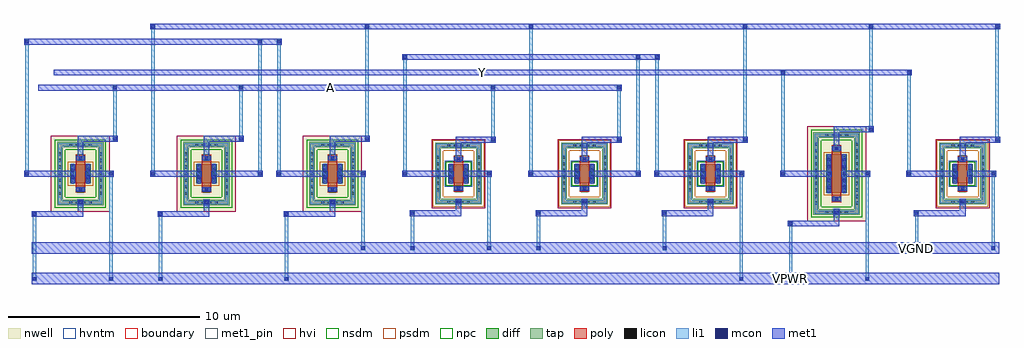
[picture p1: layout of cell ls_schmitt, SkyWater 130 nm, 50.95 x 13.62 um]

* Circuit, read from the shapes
.subckt ls_schmitt A VGND VPWR Y
XM1 VGND A ls_schmitt_XMN1_4/D VGND sky130_fd_pr__nfet_g5v0d10v5 w=1 l=0.5
XM2 ls_schmitt_XMN1_4/D A ls_schmitt_XMN2_3/D VGND sky130_fd_pr__nfet_g5v0d10v5 w=1 l=0.5
XM3 VPWR ls_schmitt_XMN2_3/D ls_schmitt_XMN1_4/D VGND sky130_fd_pr__nfet_g5v0d10v5 w=1 l=0.5
XM4 VGND ls_schmitt_XMN2_3/D Y VGND sky130_fd_pr__nfet_g5v0d10v5 w=1 l=0.5
XM5 VPWR A ls_schmitt_XMP1_7/D VPWR sky130_fd_pr__pfet_g5v0d10v5 w=1 l=0.5
XM6 ls_schmitt_XMP1_7/D A ls_schmitt_XMN2_3/D VPWR sky130_fd_pr__pfet_g5v0d10v5 w=1 l=0.5
XM7 VGND ls_schmitt_XMN2_3/D ls_schmitt_XMP1_7/D VPWR sky130_fd_pr__pfet_g5v0d10v5 w=1 l=0.5
XM8 VPWR ls_schmitt_XMN2_3/D Y VPWR sky130_fd_pr__pfet_g5v0d10v5 w=2 l=0.5
.ends

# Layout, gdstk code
import gdstk
lib = gdstk.Library(unit=1e-6, precision=1e-09)
def R(c, l, rs):  # rectangles x0, y0, x1, y1
    for r in rs: c.add(gdstk.rectangle(r[:2], r[2:], *l))
def A(c, l, x, y, w, h, nx, ny, dx, dy):  # array of equal rectangles
    R(c, l, [(x+i*dx, y+j*dy, x+i*dx+w, y+j*dy+h) for i in range(nx) for j in range(ny)])
nwell = (64, 20)
diff = (65, 20)
tap = (65, 44)
poly = (66, 20)
licon = (66, 44)
li1 = (67, 20)
mcon = (67, 44)
met1_pin = (68, 16)
met1 = (68, 20)
hvi = (75, 20)
nsdm = (93, 44)
psdm = (94, 20)
npc = (95, 20)
hvntm = (125, 20)
boundary = (235, 4)

ls_schmitt_xmno = lib.new_cell('ls_schmitt_XMNO')
R(ls_schmitt_xmno, diff, [(-0.54,-0.5,0.54,0.5)])
R(ls_schmitt_xmno, tap, [(-1.22,-1.61,1.22,-1.32), (-1.22,-1.32,-0.93,1.32), (0.93,-1.32,1.22,1.32), (-1.22,1.32,1.22,1.61)])
R(ls_schmitt_xmno, poly, [(-0.25,-0.94,0.25,0.94)])
A(ls_schmitt_xmno, licon, -0.595, -1.55, 0.17, 0.17, 4, 2, 0.34, 2.93)
A(ls_schmitt_xmno, licon, -1.16, -0.935, 0.17, 0.17, 1, 6, 0, 0.34)
A(ls_schmitt_xmno, licon, 0.99, -0.935, 0.17, 0.17, 1, 6, 0, 0.34)
A(ls_schmitt_xmno, licon, -0.48, -0.425, 0.17, 0.17, 1, 3, 0, 0.34)
A(ls_schmitt_xmno, licon, 0.31, -0.425, 0.17, 0.17, 1, 3, 0, 0.34)
R(ls_schmitt_xmno, licon, [(-0.085,-0.86,0.085,-0.69), (-0.085,0.69,0.085,0.86)])
R(ls_schmitt_xmno, li1, [(-0.165,-1.63,0.165,-1.55), (-1.16,-1.55,1.16,-1.38), (-1.16,-1.38,-0.99,1.38), (-0.165,-1.38,0.165,-1.3), (0.99,-1.38,1.16,1.38), (-0.25,-0.86,0.25,-0.69), (-0.48,-0.52,-0.31,0.52), (0.31,-0.52,0.48,0.52), (-0.25,0.69,0.25,0.86), (-1.16,1.38,1.16,1.55)])
R(ls_schmitt_xmno, mcon, [(-0.085,-1.55,0.085,-1.38), (-0.085,-0.86,0.085,-0.69), (-0.48,-0.265,-0.31,-0.095), (0.31,-0.265,0.48,-0.095), (-0.48,0.095,-0.31,0.265), (0.31,0.095,0.48,0.265), (-0.085,0.69,0.085,0.86)])
R(ls_schmitt_xmno, met1, [(-0.15,-1.615,0.15,-1.315), (-0.23,-0.89,0.23,-0.66), (-0.51,-0.5,-0.28,0.5), (0.28,-0.5,0.51,0.5), (-0.23,0.66,0.23,0.89)])
R(ls_schmitt_xmno, hvi, [(-1.405,-1.795,1.405,1.795)])
R(ls_schmitt_xmno, nsdm, [(-0.665,-0.625,0.665,0.625)])
R(ls_schmitt_xmno, psdm, [(-1.345,-1.735,1.345,-1.195), (-1.345,-1.195,-0.805,1.195), (0.805,-1.195,1.345,1.195), (-1.345,1.195,1.345,1.735)])
R(ls_schmitt_xmno, npc, [(-0.185,-0.96,0.185,-0.59), (-0.185,0.59,0.185,0.96)])
R(ls_schmitt_xmno, hvntm, [(-0.725,-0.685,0.725,0.685)])
R(ls_schmitt_xmno, boundary, [(-1.075,-1.465,1.075,1.465)])
ls_schmitt_xmno.add(gdstk.Label('B', (0,-1.465), layer=67, texttype=5))
ls_schmitt_xmno.add(gdstk.Label('D', (-0.395,0), layer=67, texttype=5))
ls_schmitt_xmno.add(gdstk.Label('S', (0.395,0), layer=67, texttype=5))
ls_schmitt_xmno.add(gdstk.Label('G', (0,0.775), layer=67, texttype=5))

ls_schmitt_xmpo = lib.new_cell('ls_schmitt_XMPO')
R(ls_schmitt_xmpo, nwell, [(-1.54,-2.485,1.54,2.485)])
R(ls_schmitt_xmpo, diff, [(-0.54,-1,0.54,1)])
R(ls_schmitt_xmpo, tap, [(-1.21,-2.155,1.21,-1.865), (-1.21,-1.865,-0.92,1.865), (0.92,-1.865,1.21,1.865), (-1.21,1.865,1.21,2.155)])
R(ls_schmitt_xmpo, poly, [(-0.25,-1.485,0.25,1.485)])
A(ls_schmitt_xmpo, licon, -0.595, -2.095, 0.17, 0.17, 4, 2, 0.34, 4.02)
A(ls_schmitt_xmpo, licon, -1.15, -1.615, 0.17, 0.17, 1, 10, 0, 0.34)
A(ls_schmitt_xmpo, licon, 0.98, -1.615, 0.17, 0.17, 1, 10, 0, 0.34)
A(ls_schmitt_xmpo, licon, -0.48, -0.935, 0.17, 0.17, 1, 6, 0, 0.34)
A(ls_schmitt_xmpo, licon, 0.31, -0.935, 0.17, 0.17, 1, 6, 0, 0.34)
R(ls_schmitt_xmpo, licon, [(-0.085,-1.405,0.085,-1.235), (-0.085,1.235,0.085,1.405)])
R(ls_schmitt_xmpo, li1, [(-0.165,-2.175,0.165,-2.095), (-1.15,-2.095,1.15,-1.925), (-1.15,-1.925,-0.98,1.925), (-0.165,-1.925,0.165,-1.845), (0.98,-1.925,1.15,1.925), (-0.25,-1.405,0.25,-1.235), (-0.48,-1.02,-0.31,1.02), (0.31,-1.02,0.48,1.02), (-0.25,1.235,0.25,1.405), (-1.15,1.925,1.15,2.095)])
A(ls_schmitt_xmpo, mcon, -0.48, -0.805, 0.17, 0.17, 1, 5, 0, 0.36)
A(ls_schmitt_xmpo, mcon, 0.31, -0.805, 0.17, 0.17, 1, 5, 0, 0.36)
R(ls_schmitt_xmpo, mcon, [(-0.085,-2.095,0.085,-1.925), (-0.085,-1.405,0.085,-1.235), (-0.085,1.235,0.085,1.405)])
R(ls_schmitt_xmpo, met1, [(-0.15,-2.16,0.15,-1.86), (-0.23,-1.435,0.23,-1.205), (-0.51,-1,-0.28,1), (0.28,-1,0.51,1), (-0.23,1.205,0.23,1.435)])
R(ls_schmitt_xmpo, hvi, [(-1.54,-2.485,1.54,2.485)])
R(ls_schmitt_xmpo, nsdm, [(-1.335,-2.28,1.335,-1.74), (-1.335,-1.74,-0.795,1.74), (0.795,-1.74,1.335,1.74), (-1.335,1.74,1.335,2.28)])
R(ls_schmitt_xmpo, psdm, [(-0.665,-1.125,0.665,1.125)])
R(ls_schmitt_xmpo, npc, [(-0.185,-1.505,0.185,-1.135), (-0.185,1.135,0.185,1.505)])
R(ls_schmitt_xmpo, boundary, [(-1.065,-2.01,1.065,2.01)])
ls_schmitt_xmpo.add(gdstk.Label('B', (0,-2.01), layer=67, texttype=5))
ls_schmitt_xmpo.add(gdstk.Label('D', (-0.395,0), layer=67, texttype=5))
ls_schmitt_xmpo.add(gdstk.Label('S', (0.395,0), layer=67, texttype=5))
ls_schmitt_xmpo.add(gdstk.Label('G', (0,1.32), layer=67, texttype=5))

ls_schmitt_xmn3 = lib.new_cell('ls_schmitt_XMN3')
R(ls_schmitt_xmn3, diff, [(-0.54,-0.5,0.54,0.5)])
R(ls_schmitt_xmn3, tap, [(-1.22,-1.61,1.22,-1.32), (-1.22,-1.32,-0.93,1.32), (0.93,-1.32,1.22,1.32), (-1.22,1.32,1.22,1.61)])
R(ls_schmitt_xmn3, poly, [(-0.25,-0.94,0.25,0.94)])
A(ls_schmitt_xmn3, licon, -0.595, -1.55, 0.17, 0.17, 4, 2, 0.34, 2.93)
A(ls_schmitt_xmn3, licon, -1.16, -0.935, 0.17, 0.17, 1, 6, 0, 0.34)
A(ls_schmitt_xmn3, licon, 0.99, -0.935, 0.17, 0.17, 1, 6, 0, 0.34)
A(ls_schmitt_xmn3, licon, -0.48, -0.425, 0.17, 0.17, 1, 3, 0, 0.34)
A(ls_schmitt_xmn3, licon, 0.31, -0.425, 0.17, 0.17, 1, 3, 0, 0.34)
R(ls_schmitt_xmn3, licon, [(-0.085,-0.86,0.085,-0.69), (-0.085,0.69,0.085,0.86)])
R(ls_schmitt_xmn3, li1, [(-0.165,-1.63,0.165,-1.55), (-1.16,-1.55,1.16,-1.38), (-1.16,-1.38,-0.99,1.38), (-0.165,-1.38,0.165,-1.3), (0.99,-1.38,1.16,1.38), (-0.25,-0.86,0.25,-0.69), (-0.48,-0.52,-0.31,0.52), (0.31,-0.52,0.48,0.52), (-0.25,0.69,0.25,0.86), (-1.16,1.38,1.16,1.55)])
R(ls_schmitt_xmn3, mcon, [(-0.085,-1.55,0.085,-1.38), (-0.085,-0.86,0.085,-0.69), (-0.48,-0.265,-0.31,-0.095), (0.31,-0.265,0.48,-0.095), (-0.48,0.095,-0.31,0.265), (0.31,0.095,0.48,0.265), (-0.085,0.69,0.085,0.86)])
R(ls_schmitt_xmn3, met1, [(-0.15,-1.615,0.15,-1.315), (-0.23,-0.89,0.23,-0.66), (-0.51,-0.5,-0.28,0.5), (0.28,-0.5,0.51,0.5), (-0.23,0.66,0.23,0.89)])
R(ls_schmitt_xmn3, hvi, [(-1.405,-1.795,1.405,1.795)])
R(ls_schmitt_xmn3, nsdm, [(-0.665,-0.625,0.665,0.625)])
R(ls_schmitt_xmn3, psdm, [(-1.345,-1.735,1.345,-1.195), (-1.345,-1.195,-0.805,1.195), (0.805,-1.195,1.345,1.195), (-1.345,1.195,1.345,1.735)])
R(ls_schmitt_xmn3, npc, [(-0.185,-0.96,0.185,-0.59), (-0.185,0.59,0.185,0.96)])
R(ls_schmitt_xmn3, hvntm, [(-0.725,-0.685,0.725,0.685)])
R(ls_schmitt_xmn3, boundary, [(-1.075,-1.465,1.075,1.465)])
ls_schmitt_xmn3.add(gdstk.Label('B', (0,-1.465), layer=67, texttype=5))
ls_schmitt_xmn3.add(gdstk.Label('D', (-0.395,0), layer=67, texttype=5))
ls_schmitt_xmn3.add(gdstk.Label('S', (0.395,0), layer=67, texttype=5))
ls_schmitt_xmn3.add(gdstk.Label('G', (0,0.775), layer=67, texttype=5))

ls_schmitt_xmn2 = lib.new_cell('ls_schmitt_XMN2')
R(ls_schmitt_xmn2, diff, [(-0.54,-0.5,0.54,0.5)])
R(ls_schmitt_xmn2, tap, [(-1.22,-1.61,1.22,-1.32), (-1.22,-1.32,-0.93,1.32), (0.93,-1.32,1.22,1.32), (-1.22,1.32,1.22,1.61)])
R(ls_schmitt_xmn2, poly, [(-0.25,-0.94,0.25,0.94)])
A(ls_schmitt_xmn2, licon, -0.595, -1.55, 0.17, 0.17, 4, 2, 0.34, 2.93)
A(ls_schmitt_xmn2, licon, -1.16, -0.935, 0.17, 0.17, 1, 6, 0, 0.34)
A(ls_schmitt_xmn2, licon, 0.99, -0.935, 0.17, 0.17, 1, 6, 0, 0.34)
A(ls_schmitt_xmn2, licon, -0.48, -0.425, 0.17, 0.17, 1, 3, 0, 0.34)
A(ls_schmitt_xmn2, licon, 0.31, -0.425, 0.17, 0.17, 1, 3, 0, 0.34)
R(ls_schmitt_xmn2, licon, [(-0.085,-0.86,0.085,-0.69), (-0.085,0.69,0.085,0.86)])
R(ls_schmitt_xmn2, li1, [(-0.165,-1.63,0.165,-1.55), (-1.16,-1.55,1.16,-1.38), (-1.16,-1.38,-0.99,1.38), (-0.165,-1.38,0.165,-1.3), (0.99,-1.38,1.16,1.38), (-0.25,-0.86,0.25,-0.69), (-0.48,-0.52,-0.31,0.52), (0.31,-0.52,0.48,0.52), (-0.25,0.69,0.25,0.86), (-1.16,1.38,1.16,1.55)])
R(ls_schmitt_xmn2, mcon, [(-0.085,-1.55,0.085,-1.38), (-0.085,-0.86,0.085,-0.69), (-0.48,-0.265,-0.31,-0.095), (0.31,-0.265,0.48,-0.095), (-0.48,0.095,-0.31,0.265), (0.31,0.095,0.48,0.265), (-0.085,0.69,0.085,0.86)])
R(ls_schmitt_xmn2, met1, [(-0.15,-1.615,0.15,-1.315), (-0.23,-0.89,0.23,-0.66), (-0.51,-0.5,-0.28,0.5), (0.28,-0.5,0.51,0.5), (-0.23,0.66,0.23,0.89)])
R(ls_schmitt_xmn2, hvi, [(-1.405,-1.795,1.405,1.795)])
R(ls_schmitt_xmn2, nsdm, [(-0.665,-0.625,0.665,0.625)])
R(ls_schmitt_xmn2, psdm, [(-1.345,-1.735,1.345,-1.195), (-1.345,-1.195,-0.805,1.195), (0.805,-1.195,1.345,1.195), (-1.345,1.195,1.345,1.735)])
R(ls_schmitt_xmn2, npc, [(-0.185,-0.96,0.185,-0.59), (-0.185,0.59,0.185,0.96)])
R(ls_schmitt_xmn2, hvntm, [(-0.725,-0.685,0.725,0.685)])
R(ls_schmitt_xmn2, boundary, [(-1.075,-1.465,1.075,1.465)])
ls_schmitt_xmn2.add(gdstk.Label('B', (0,-1.465), layer=67, texttype=5))
ls_schmitt_xmn2.add(gdstk.Label('D', (-0.395,0), layer=67, texttype=5))
ls_schmitt_xmn2.add(gdstk.Label('S', (0.395,0), layer=67, texttype=5))
ls_schmitt_xmn2.add(gdstk.Label('G', (0,0.775), layer=67, texttype=5))

ls_schmitt_xmn1 = lib.new_cell('ls_schmitt_XMN1')
R(ls_schmitt_xmn1, diff, [(-0.54,-0.5,0.54,0.5)])
R(ls_schmitt_xmn1, tap, [(-1.22,-1.61,1.22,-1.32), (-1.22,-1.32,-0.93,1.32), (0.93,-1.32,1.22,1.32), (-1.22,1.32,1.22,1.61)])
R(ls_schmitt_xmn1, poly, [(-0.25,-0.94,0.25,0.94)])
A(ls_schmitt_xmn1, licon, -0.595, -1.55, 0.17, 0.17, 4, 2, 0.34, 2.93)
A(ls_schmitt_xmn1, licon, -1.16, -0.935, 0.17, 0.17, 1, 6, 0, 0.34)
A(ls_schmitt_xmn1, licon, 0.99, -0.935, 0.17, 0.17, 1, 6, 0, 0.34)
A(ls_schmitt_xmn1, licon, -0.48, -0.425, 0.17, 0.17, 1, 3, 0, 0.34)
A(ls_schmitt_xmn1, licon, 0.31, -0.425, 0.17, 0.17, 1, 3, 0, 0.34)
R(ls_schmitt_xmn1, licon, [(-0.085,-0.86,0.085,-0.69), (-0.085,0.69,0.085,0.86)])
R(ls_schmitt_xmn1, li1, [(-0.165,-1.63,0.165,-1.55), (-1.16,-1.55,1.16,-1.38), (-1.16,-1.38,-0.99,1.38), (-0.165,-1.38,0.165,-1.3), (0.99,-1.38,1.16,1.38), (-0.25,-0.86,0.25,-0.69), (-0.48,-0.52,-0.31,0.52), (0.31,-0.52,0.48,0.52), (-0.25,0.69,0.25,0.86), (-1.16,1.38,1.16,1.55)])
R(ls_schmitt_xmn1, mcon, [(-0.085,-1.55,0.085,-1.38), (-0.085,-0.86,0.085,-0.69), (-0.48,-0.265,-0.31,-0.095), (0.31,-0.265,0.48,-0.095), (-0.48,0.095,-0.31,0.265), (0.31,0.095,0.48,0.265), (-0.085,0.69,0.085,0.86)])
R(ls_schmitt_xmn1, met1, [(-0.15,-1.615,0.15,-1.315), (-0.23,-0.89,0.23,-0.66), (-0.51,-0.5,-0.28,0.5), (0.28,-0.5,0.51,0.5), (-0.23,0.66,0.23,0.89)])
R(ls_schmitt_xmn1, hvi, [(-1.405,-1.795,1.405,1.795)])
R(ls_schmitt_xmn1, nsdm, [(-0.665,-0.625,0.665,0.625)])
R(ls_schmitt_xmn1, psdm, [(-1.345,-1.735,1.345,-1.195), (-1.345,-1.195,-0.805,1.195), (0.805,-1.195,1.345,1.195), (-1.345,1.195,1.345,1.735)])
R(ls_schmitt_xmn1, npc, [(-0.185,-0.96,0.185,-0.59), (-0.185,0.59,0.185,0.96)])
R(ls_schmitt_xmn1, hvntm, [(-0.725,-0.685,0.725,0.685)])
R(ls_schmitt_xmn1, boundary, [(-1.075,-1.465,1.075,1.465)])
ls_schmitt_xmn1.add(gdstk.Label('B', (0,-1.465), layer=67, texttype=5))
ls_schmitt_xmn1.add(gdstk.Label('D', (-0.395,0), layer=67, texttype=5))
ls_schmitt_xmn1.add(gdstk.Label('S', (0.395,0), layer=67, texttype=5))
ls_schmitt_xmn1.add(gdstk.Label('G', (0,0.775), layer=67, texttype=5))

ls_schmitt_xmp3 = lib.new_cell('ls_schmitt_XMP3')
R(ls_schmitt_xmp3, nwell, [(-1.54,-1.985,1.54,1.985)])
R(ls_schmitt_xmp3, diff, [(-0.54,-0.5,0.54,0.5)])
R(ls_schmitt_xmp3, tap, [(-1.21,-1.655,1.21,-1.365), (-1.21,-1.365,-0.92,1.365), (0.92,-1.365,1.21,1.365), (-1.21,1.365,1.21,1.655)])
R(ls_schmitt_xmp3, poly, [(-0.25,-0.985,0.25,0.985)])
A(ls_schmitt_xmp3, licon, -0.595, -1.595, 0.17, 0.17, 4, 2, 0.34, 3.02)
A(ls_schmitt_xmp3, licon, -1.15, -1.105, 0.17, 0.17, 1, 7, 0, 0.34)
A(ls_schmitt_xmp3, licon, 0.98, -1.105, 0.17, 0.17, 1, 7, 0, 0.34)
A(ls_schmitt_xmp3, licon, -0.48, -0.425, 0.17, 0.17, 1, 3, 0, 0.34)
A(ls_schmitt_xmp3, licon, 0.31, -0.425, 0.17, 0.17, 1, 3, 0, 0.34)
R(ls_schmitt_xmp3, licon, [(-0.085,-0.905,0.085,-0.735), (-0.085,0.735,0.085,0.905)])
R(ls_schmitt_xmp3, li1, [(-0.165,-1.675,0.165,-1.595), (-1.15,-1.595,1.15,-1.425), (-1.15,-1.425,-0.98,1.425), (-0.165,-1.425,0.165,-1.345), (0.98,-1.425,1.15,1.425), (-0.25,-0.905,0.25,-0.735), (-0.48,-0.52,-0.31,0.52), (0.31,-0.52,0.48,0.52), (-0.25,0.735,0.25,0.905), (-1.15,1.425,1.15,1.595)])
R(ls_schmitt_xmp3, mcon, [(-0.085,-1.595,0.085,-1.425), (-0.085,-0.905,0.085,-0.735), (-0.48,-0.265,-0.31,-0.095), (0.31,-0.265,0.48,-0.095), (-0.48,0.095,-0.31,0.265), (0.31,0.095,0.48,0.265), (-0.085,0.735,0.085,0.905)])
R(ls_schmitt_xmp3, met1, [(-0.15,-1.66,0.15,-1.36), (-0.23,-0.935,0.23,-0.705), (-0.51,-0.5,-0.28,0.5), (0.28,-0.5,0.51,0.5), (-0.23,0.705,0.23,0.935)])
R(ls_schmitt_xmp3, hvi, [(-1.54,-1.985,1.54,1.985)])
R(ls_schmitt_xmp3, nsdm, [(-1.335,-1.78,1.335,-1.24), (-1.335,-1.24,-0.795,1.24), (0.795,-1.24,1.335,1.24), (-1.335,1.24,1.335,1.78)])
R(ls_schmitt_xmp3, psdm, [(-0.665,-0.625,0.665,0.625)])
R(ls_schmitt_xmp3, npc, [(-0.185,-1.005,0.185,-0.635), (-0.185,0.635,0.185,1.005)])
R(ls_schmitt_xmp3, boundary, [(-1.065,-1.51,1.065,1.51)])
ls_schmitt_xmp3.add(gdstk.Label('B', (0,-1.51), layer=67, texttype=5))
ls_schmitt_xmp3.add(gdstk.Label('D', (-0.395,0), layer=67, texttype=5))
ls_schmitt_xmp3.add(gdstk.Label('S', (0.395,0), layer=67, texttype=5))
ls_schmitt_xmp3.add(gdstk.Label('G', (0,0.82), layer=67, texttype=5))

ls_schmitt_xmp2 = lib.new_cell('ls_schmitt_XMP2')
R(ls_schmitt_xmp2, nwell, [(-1.54,-1.985,1.54,1.985)])
R(ls_schmitt_xmp2, diff, [(-0.54,-0.5,0.54,0.5)])
R(ls_schmitt_xmp2, tap, [(-1.21,-1.655,1.21,-1.365), (-1.21,-1.365,-0.92,1.365), (0.92,-1.365,1.21,1.365), (-1.21,1.365,1.21,1.655)])
R(ls_schmitt_xmp2, poly, [(-0.25,-0.985,0.25,0.985)])
A(ls_schmitt_xmp2, licon, -0.595, -1.595, 0.17, 0.17, 4, 2, 0.34, 3.02)
A(ls_schmitt_xmp2, licon, -1.15, -1.105, 0.17, 0.17, 1, 7, 0, 0.34)
A(ls_schmitt_xmp2, licon, 0.98, -1.105, 0.17, 0.17, 1, 7, 0, 0.34)
A(ls_schmitt_xmp2, licon, -0.48, -0.425, 0.17, 0.17, 1, 3, 0, 0.34)
A(ls_schmitt_xmp2, licon, 0.31, -0.425, 0.17, 0.17, 1, 3, 0, 0.34)
R(ls_schmitt_xmp2, licon, [(-0.085,-0.905,0.085,-0.735), (-0.085,0.735,0.085,0.905)])
R(ls_schmitt_xmp2, li1, [(-0.165,-1.675,0.165,-1.595), (-1.15,-1.595,1.15,-1.425), (-1.15,-1.425,-0.98,1.425), (-0.165,-1.425,0.165,-1.345), (0.98,-1.425,1.15,1.425), (-0.25,-0.905,0.25,-0.735), (-0.48,-0.52,-0.31,0.52), (0.31,-0.52,0.48,0.52), (-0.25,0.735,0.25,0.905), (-1.15,1.425,1.15,1.595)])
R(ls_schmitt_xmp2, mcon, [(-0.085,-1.595,0.085,-1.425), (-0.085,-0.905,0.085,-0.735), (-0.48,-0.265,-0.31,-0.095), (0.31,-0.265,0.48,-0.095), (-0.48,0.095,-0.31,0.265), (0.31,0.095,0.48,0.265), (-0.085,0.735,0.085,0.905)])
R(ls_schmitt_xmp2, met1, [(-0.15,-1.66,0.15,-1.36), (-0.23,-0.935,0.23,-0.705), (-0.51,-0.5,-0.28,0.5), (0.28,-0.5,0.51,0.5), (-0.23,0.705,0.23,0.935)])
R(ls_schmitt_xmp2, hvi, [(-1.54,-1.985,1.54,1.985)])
R(ls_schmitt_xmp2, nsdm, [(-1.335,-1.78,1.335,-1.24), (-1.335,-1.24,-0.795,1.24), (0.795,-1.24,1.335,1.24), (-1.335,1.24,1.335,1.78)])
R(ls_schmitt_xmp2, psdm, [(-0.665,-0.625,0.665,0.625)])
R(ls_schmitt_xmp2, npc, [(-0.185,-1.005,0.185,-0.635), (-0.185,0.635,0.185,1.005)])
R(ls_schmitt_xmp2, boundary, [(-1.065,-1.51,1.065,1.51)])
ls_schmitt_xmp2.add(gdstk.Label('B', (0,-1.51), layer=67, texttype=5))
ls_schmitt_xmp2.add(gdstk.Label('D', (-0.395,0), layer=67, texttype=5))
ls_schmitt_xmp2.add(gdstk.Label('S', (0.395,0), layer=67, texttype=5))
ls_schmitt_xmp2.add(gdstk.Label('G', (0,0.82), layer=67, texttype=5))

ls_schmitt_xmp1 = lib.new_cell('ls_schmitt_XMP1')
R(ls_schmitt_xmp1, nwell, [(-1.54,-1.985,1.54,1.985)])
R(ls_schmitt_xmp1, diff, [(-0.54,-0.5,0.54,0.5)])
R(ls_schmitt_xmp1, tap, [(-1.21,-1.655,1.21,-1.365), (-1.21,-1.365,-0.92,1.365), (0.92,-1.365,1.21,1.365), (-1.21,1.365,1.21,1.655)])
R(ls_schmitt_xmp1, poly, [(-0.25,-0.985,0.25,0.985)])
A(ls_schmitt_xmp1, licon, -0.595, -1.595, 0.17, 0.17, 4, 2, 0.34, 3.02)
A(ls_schmitt_xmp1, licon, -1.15, -1.105, 0.17, 0.17, 1, 7, 0, 0.34)
A(ls_schmitt_xmp1, licon, 0.98, -1.105, 0.17, 0.17, 1, 7, 0, 0.34)
A(ls_schmitt_xmp1, licon, -0.48, -0.425, 0.17, 0.17, 1, 3, 0, 0.34)
A(ls_schmitt_xmp1, licon, 0.31, -0.425, 0.17, 0.17, 1, 3, 0, 0.34)
R(ls_schmitt_xmp1, licon, [(-0.085,-0.905,0.085,-0.735), (-0.085,0.735,0.085,0.905)])
R(ls_schmitt_xmp1, li1, [(-0.165,-1.675,0.165,-1.595), (-1.15,-1.595,1.15,-1.425), (-1.15,-1.425,-0.98,1.425), (-0.165,-1.425,0.165,-1.345), (0.98,-1.425,1.15,1.425), (-0.25,-0.905,0.25,-0.735), (-0.48,-0.52,-0.31,0.52), (0.31,-0.52,0.48,0.52), (-0.25,0.735,0.25,0.905), (-1.15,1.425,1.15,1.595)])
R(ls_schmitt_xmp1, mcon, [(-0.085,-1.595,0.085,-1.425), (-0.085,-0.905,0.085,-0.735), (-0.48,-0.265,-0.31,-0.095), (0.31,-0.265,0.48,-0.095), (-0.48,0.095,-0.31,0.265), (0.31,0.095,0.48,0.265), (-0.085,0.735,0.085,0.905)])
R(ls_schmitt_xmp1, met1, [(-0.15,-1.66,0.15,-1.36), (-0.23,-0.935,0.23,-0.705), (-0.51,-0.5,-0.28,0.5), (0.28,-0.5,0.51,0.5), (-0.23,0.705,0.23,0.935)])
R(ls_schmitt_xmp1, hvi, [(-1.54,-1.985,1.54,1.985)])
R(ls_schmitt_xmp1, nsdm, [(-1.335,-1.78,1.335,-1.24), (-1.335,-1.24,-0.795,1.24), (0.795,-1.24,1.335,1.24), (-1.335,1.24,1.335,1.78)])
R(ls_schmitt_xmp1, psdm, [(-0.665,-0.625,0.665,0.625)])
R(ls_schmitt_xmp1, npc, [(-0.185,-1.005,0.185,-0.635), (-0.185,0.635,0.185,1.005)])
R(ls_schmitt_xmp1, boundary, [(-1.065,-1.51,1.065,1.51)])
ls_schmitt_xmp1.add(gdstk.Label('B', (0,-1.51), layer=67, texttype=5))
ls_schmitt_xmp1.add(gdstk.Label('D', (-0.395,0), layer=67, texttype=5))
ls_schmitt_xmp1.add(gdstk.Label('S', (0.395,0), layer=67, texttype=5))
ls_schmitt_xmp1.add(gdstk.Label('G', (0,0.82), layer=67, texttype=5))

ls_schmitt = lib.new_cell('ls_schmitt')
A(ls_schmitt, li1, 0.555, 1.11, 0.17, 3.155, 3, 1, 6.58, 0)
A(ls_schmitt, li1, 20.295, 2.71, 0.17, 1.6, 3, 1, 6.58, 0)
A(ls_schmitt, li1, 0.53, 4.265, 0.22, 0.22, 3, 1, 6.58, 0)
A(ls_schmitt, li1, 20.27, 4.31, 0.22, 0.22, 3, 1, 6.58, 0)
A(ls_schmitt, li1, 24.47, 8.15, 0.22, 0.22, 3, 1, 6.58, 0)
A(ls_schmitt, li1, 4.73, 8.195, 0.22, 0.22, 3, 1, 6.58, 0)
A(ls_schmitt, li1, 37.63, 14.06, 0.22, 0.22, 3, 1, 6.58, 0)
R(ls_schmitt, li1, [(0.53,0.89,0.75,1.11), (4.525,0.89,4.745,1.11), (7.11,0.89,7.33,1.11), (13.69,0.89,13.91,1.11), (37.425,0.89,37.645,1.11), (40.01,0.89,40.23,1.11), (44.005,0.89,44.225,1.11), (4.55,1.11,4.72,6.375), (37.45,1.11,37.62,6.375), (40.035,1.11,40.205,3.765), (44.03,1.11,44.2,6.375), (17.685,2.49,17.905,2.71), (20.27,2.49,20.49,2.71), (24.265,2.49,24.485,2.71), (26.85,2.49,27.07,2.71), (33.43,2.49,33.65,2.71), (46.59,2.49,46.81,2.71), (50.585,2.49,50.805,2.71), (17.71,2.71,17.88,6.375), (24.29,2.71,24.46,6.375), (46.615,2.71,46.785,4.31), (50.61,2.71,50.78,6.375), (40.01,3.765,40.23,3.985), (46.59,4.31,46.81,4.53), (0.135,6.375,0.355,6.595), (4.525,6.375,4.745,6.595), (6.715,6.375,6.935,6.595), (12.305,6.375,12.525,6.595), (13.295,6.375,13.515,6.595), (17.685,6.375,17.905,6.595), (19.875,6.375,20.095,6.595), (24.265,6.375,24.485,6.595), (26.455,6.375,26.675,6.595), (32.045,6.375,32.265,6.595), (33.035,6.375,33.255,6.595), (37.425,6.375,37.645,6.595), (39.615,6.375,39.835,6.595), (44.005,6.375,44.225,6.595), (46.195,6.375,46.415,6.595), (50.585,6.375,50.805,6.595), (0.16,6.595,0.33,13.26), (6.74,6.595,6.91,14.06), (12.33,6.595,12.5,13.26), (13.32,6.595,13.49,13.26), (19.9,6.595,20.07,12.46), (26.48,6.595,26.65,14.06), (32.07,6.595,32.24,12.46), (33.06,6.595,33.23,12.46), (39.64,6.595,39.81,11.66), (46.22,6.595,46.39,11.66), (50.79,8.15,51.01,8.37), (24.495,8.37,24.665,10.86), (31.075,8.37,31.245,10.86), (37.655,8.37,37.825,14.06), (50.815,8.37,50.985,14.06), (4.755,8.415,4.925,10.86), (11.335,8.415,11.505,10.86), (17.915,8.415,18.085,14.06), (44.21,8.695,44.43,8.915), (44.235,8.915,44.405,14.06), (4.73,10.86,4.95,11.08), (11.31,10.86,11.53,11.08), (24.47,10.86,24.69,11.08), (31.05,10.86,31.27,11.08), (39.615,11.66,39.835,11.88), (46.195,11.66,46.415,11.88), (19.875,12.46,20.095,12.68), (32.045,12.46,32.265,12.68), (33.035,12.46,33.255,12.68), (0.135,13.26,0.355,13.48), (12.305,13.26,12.525,13.48), (13.295,13.26,13.515,13.48), (6.715,14.06,6.935,14.28), (17.89,14.06,18.11,14.28), (26.455,14.06,26.675,14.28)])
A(ls_schmitt, mcon, 0.555, 4.29, 0.17, 0.17, 3, 1, 6.58, 0)
A(ls_schmitt, mcon, 20.295, 4.335, 0.17, 0.17, 3, 1, 6.58, 0)
A(ls_schmitt, mcon, 24.495, 8.175, 0.17, 0.17, 3, 1, 6.58, 0)
A(ls_schmitt, mcon, 4.755, 8.22, 0.17, 0.17, 3, 1, 6.58, 0)
A(ls_schmitt, mcon, 37.655, 14.085, 0.17, 0.17, 3, 1, 6.58, 0)
R(ls_schmitt, mcon, [(0.555,0.915,0.725,1.085), (4.55,0.915,4.72,1.085), (7.135,0.915,7.305,1.085), (13.715,0.915,13.885,1.085), (37.45,0.915,37.62,1.085), (40.035,0.915,40.205,1.085), (44.03,0.915,44.2,1.085), (17.71,2.515,17.88,2.685), (20.295,2.515,20.465,2.685), (24.29,2.515,24.46,2.685), (26.875,2.515,27.045,2.685), (33.455,2.515,33.625,2.685), (46.615,2.515,46.785,2.685), (50.61,2.515,50.78,2.685), (40.035,3.79,40.205,3.96), (46.615,4.335,46.785,4.505), (0.16,6.4,0.33,6.57), (4.55,6.4,4.72,6.57), (6.74,6.4,6.91,6.57), (12.33,6.4,12.5,6.57), (13.32,6.4,13.49,6.57), (17.71,6.4,17.88,6.57), (19.9,6.4,20.07,6.57), (24.29,6.4,24.46,6.57), (26.48,6.4,26.65,6.57), (32.07,6.4,32.24,6.57), (33.06,6.4,33.23,6.57), (37.45,6.4,37.62,6.57), (39.64,6.4,39.81,6.57), (44.03,6.4,44.2,6.57), (46.22,6.4,46.39,6.57), (50.61,6.4,50.78,6.57), (50.815,8.175,50.985,8.345), (44.235,8.72,44.405,8.89), (4.755,10.885,4.925,11.055), (11.335,10.885,11.505,11.055), (24.495,10.885,24.665,11.055), (31.075,10.885,31.245,11.055), (39.64,11.685,39.81,11.855), (46.22,11.685,46.39,11.855), (19.9,12.485,20.07,12.655), (32.07,12.485,32.24,12.655), (33.06,12.485,33.23,12.655), (0.16,13.285,0.33,13.455), (12.33,13.285,12.5,13.455), (13.32,13.285,13.49,13.455), (6.74,14.085,6.91,14.255), (17.915,14.085,18.085,14.255), (26.48,14.085,26.65,14.255)])
R(ls_schmitt, met1_pin, [(39.97,0.85,40.27,1.15), (46.55,2.45,46.85,2.75), (0.85,10.82,31.31,11.12), (1.65,11.62,46.455,11.92)])
A(ls_schmitt, met1, 0.49, 4.225, 2.7, 0.3, 3, 1, 6.58, 0)
A(ls_schmitt, met1, 20.23, 4.27, 2.7, 0.3, 3, 1, 6.58, 0)
A(ls_schmitt, met1, 2.89, 4.525, 0.3, 0.6, 3, 1, 6.58, 0)
A(ls_schmitt, met1, 22.63, 4.57, 0.3, 0.6, 3, 1, 6.58, 0)
A(ls_schmitt, met1, 13.255, 6.335, 2.7, 0.3, 3, 1, 6.58, 0)
A(ls_schmitt, met1, 32.995, 6.335, 2.7, 0.3, 3, 1, 6.58, 0)
A(ls_schmitt, met1, 36.185, 6.335, 1.5, 0.3, 3, 1, 6.58, 0)
A(ls_schmitt, met1, 22.63, 7.11, 0.3, 1, 3, 1, 6.58, 0)
A(ls_schmitt, met1, 2.89, 7.155, 0.3, 1, 3, 1, 6.58, 0)
A(ls_schmitt, met1, 22.63, 8.11, 2.1, 0.3, 3, 1, 6.58, 0)
A(ls_schmitt, met1, 2.89, 8.155, 2.1, 0.3, 3, 1, 6.58, 0)
R(ls_schmitt, met1, [(0.5,0.7,51,0.85), (0.49,0.85,51,1.15), (0.5,1.15,51,1.3), (0.5,2.3,51,2.9), (39.97,3.725,42.67,4.025), (42.37,4.025,42.67,4.625), (46.55,4.27,49.25,4.57), (48.95,4.57,49.25,5.17), (0.095,6.335,2.795,6.635), (3.285,6.335,4.785,6.635), (6.675,6.335,9.375,6.635), (9.865,6.335,12.565,6.635), (16.445,6.335,17.945,6.635), (23.025,6.335,24.525,6.635), (29.605,6.335,32.305,6.635), (48.95,7.11,49.25,8.11), (42.37,7.655,42.67,8.655), (48.95,8.11,51.05,8.41), (42.37,8.655,44.47,8.955), (0.85,10.82,31.31,11.12), (1.65,11.62,46.455,11.92), (19.835,12.42,33.295,12.72), (0.095,13.22,13.555,13.52), (6.675,14.02,51.05,14.32)])
ls_schmitt.add(gdstk.Reference(ls_schmitt_xmno, (49.1,6.485)))
ls_schmitt.add(gdstk.Reference(ls_schmitt_xmpo, (42.52,6.485)))
ls_schmitt.add(gdstk.Reference(ls_schmitt_xmn3, (35.94,6.485)))
ls_schmitt.add(gdstk.Reference(ls_schmitt_xmn2, (29.36,6.485)))
ls_schmitt.add(gdstk.Reference(ls_schmitt_xmn1, (22.78,6.485)))
ls_schmitt.add(gdstk.Reference(ls_schmitt_xmp3, (16.2,6.485)))
ls_schmitt.add(gdstk.Reference(ls_schmitt_xmp2, (9.62,6.485)))
ls_schmitt.add(gdstk.Reference(ls_schmitt_xmp1, (3.04,6.485)))
ls_schmitt.add(gdstk.Label('VPWR', (40.12,1), layer=68, texttype=5))
ls_schmitt.add(gdstk.Label('VGND', (46.7,2.6), layer=68, texttype=5))
ls_schmitt.add(gdstk.Label('A', (16.08,10.97), layer=68, texttype=5))
ls_schmitt.add(gdstk.Label('Y', (24.052,11.77), layer=68, texttype=5))

lib.write_gds('ls_schmitt.gds')
